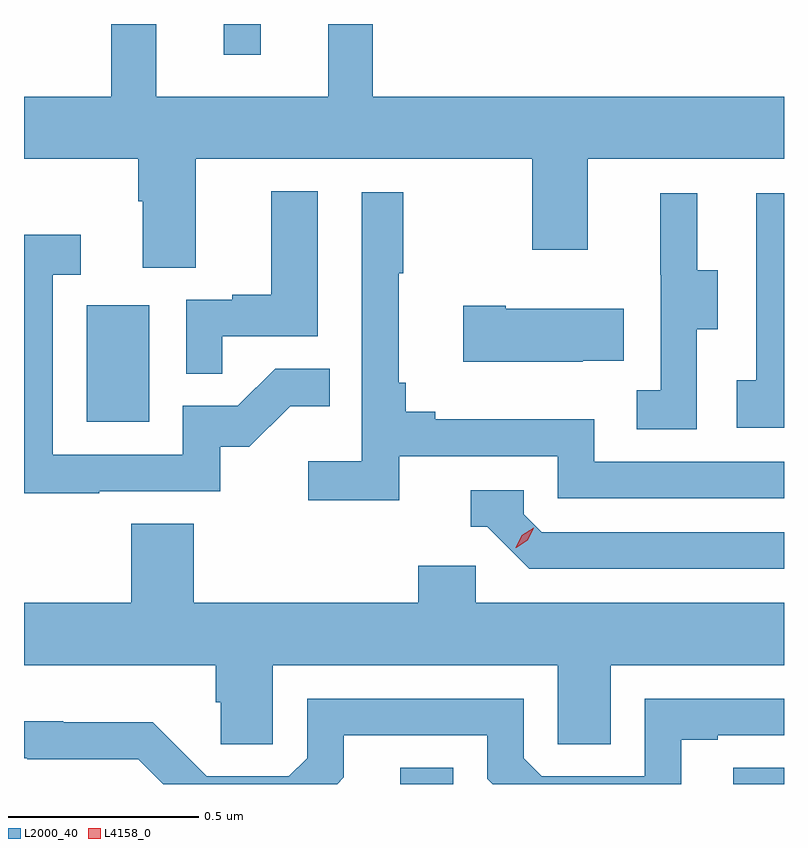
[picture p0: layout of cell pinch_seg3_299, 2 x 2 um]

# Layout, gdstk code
import gdstk
lib = gdstk.Library(unit=1e-6, precision=1e-09)
def R(c, l, rs):  # rectangles x0, y0, x1, y1
    for r in rs: c.add(gdstk.rectangle(r[:2], r[2:], *l))
def P(c, l, *ps):  # polygons
    for p in ps: c.add(gdstk.Polygon(p, *l))
L2000_40 = (2000, 40)
L4158_0 = (4158, 0)

pinch_seg3_299 = lib.new_cell('pinch_seg3_299')
R(pinch_seg3_299, L2000_40, [(965.789,727.243,965.929,727.286), (966.665,727.243,966.799,727.286), (964.964,728.196,965.128,728.503), (965.325,729.162,965.422,729.243)])
P(pinch_seg3_299, L2000_40, [(965.251,728.888),(966.136,728.888),(966.136,728.649),(966.283,728.649),(966.283,728.888),(966.799,728.888),(966.799,729.052),(965.717,729.052),(965.717,729.243),(965.6,729.243),(965.6,729.052),(965.147,729.052),(965.147,729.243),(965.029,729.243),(965.029,729.052),(964.799,729.052),(964.799,728.888),(965.099,728.888),(965.099,728.776),(965.111,728.776),(965.111,728.602),(965.251,728.602)],
  [(965.321,728.421),(965.572,728.421),(965.572,728.803),(965.45,728.803),(965.45,728.53),(965.347,728.53),(965.347,728.517),(965.226,728.517),(965.226,728.323),(965.321,728.323)],
  [(965.786,728.106),(966.204,728.106),(966.204,727.995),(966.799,727.995),(966.799,728.091),(966.3,728.091),(966.3,728.203),(965.881,728.203),(965.881,728.222),(965.804,728.222),(965.804,728.299),(965.785,728.299),(965.785,728.587),(965.797,728.587),(965.797,728.8),(965.688,728.8),(965.688,728.092),(965.547,728.092),(965.547,727.99),(965.786,727.99)],
  [(966.57,728.44),(966.625,728.44),(966.625,728.595),(966.571,728.595),(966.571,728.797),(966.473,728.797),(966.473,728.583),(966.474,728.583),(966.474,728.279),(966.411,728.279),(966.411,728.176),(966.57,728.176)],
  [(966.799,728.797),(966.726,728.797),(966.726,728.306),(966.675,728.306),(966.675,728.181),(966.799,728.181)],
  [(964.997,728.013),(965.316,728.013),(965.316,728.13),(965.392,728.13),(965.499,728.237),(965.603,728.237),(965.603,728.336),(965.46,728.336),(965.362,728.238),(965.217,728.238),(965.217,728.109),(964.875,728.109),(964.875,728.583),(964.948,728.583),(964.948,728.689),(964.799,728.689),(964.799,728.008),(964.997,728.008)],
  [(966.269,728.357),(966.377,728.357),(966.377,728.494),(966.067,728.494),(966.067,728.502),(965.955,728.502),(965.955,728.354),(966.269,728.354)],
  [(966.799,727.905),(966.162,727.905),(966.114,727.953),(966.114,728.016),(965.975,728.016),(965.975,727.92),(966.018,727.92),(966.129,727.809),(966.799,727.809)],
  [(965.454,727.556),(966.204,727.556),(966.204,727.348),(966.343,727.348),(966.343,727.556),(966.799,727.556),(966.799,727.72),(965.988,727.72),(965.988,727.818),(965.837,727.818),(965.837,727.72),(965.246,727.72),(965.246,727.928),(965.081,727.928),(965.081,727.72),(964.799,727.72),(964.799,727.556),(965.303,727.556),(965.303,727.458),(965.317,727.458),(965.317,727.348),(965.454,727.348)],
  [(965.641,727.261),(965.641,727.371),(966.018,727.371),(966.018,727.257),(966.032,727.243),(966.529,727.243),(966.529,727.359),(966.625,727.359),(966.625,727.371),(966.799,727.371),(966.799,727.467),(966.432,727.467),(966.432,727.263),(966.162,727.263),(966.114,727.311),(966.114,727.467),(965.544,727.467),(965.544,727.311),(965.496,727.263),(965.28,727.263),(965.138,727.405),(964.902,727.405),(964.902,727.408),(964.799,727.408),(964.799,727.311),(964.807,727.311),(964.807,727.308),(965.1,727.308),(965.165,727.243),(965.623,727.243)])
P(pinch_seg3_299, L4158_0, [(966.093,727.865),(966.093,727.865),(966.109,727.898),(966.14,727.917),(966.14,727.917),(966.14,727.917),(966.124,727.884),(966.094,727.865)])

lib.write_gds('pinch_seg3_299.gds')
